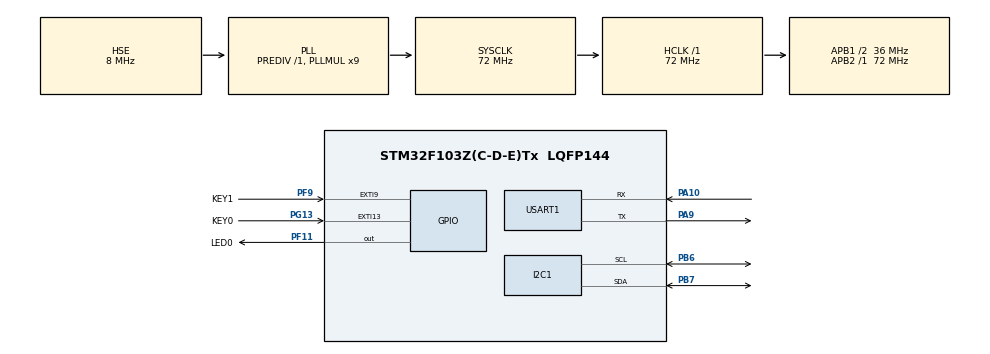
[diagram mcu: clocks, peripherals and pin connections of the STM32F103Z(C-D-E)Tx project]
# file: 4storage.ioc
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Mcu.Family=STM32F1
Mcu.Name=STM32F103Z(C-D-E)Tx
Mcu.Package=LQFP144
NVIC.EXTI15_10_IRQn=true\:0\:0\:false\:false\:true\:true\:true
NVIC.EXTI9_5_IRQn=true\:0\:0\:false\:false\:true\:true\:true
NVIC.PriorityGroup=NVIC_PRIORITYGROUP_4
OSC_IN.Mode=HSE-External-Oscillator
OSC_IN.Signal=RCC_OSC_IN
OSC_OUT.Mode=HSE-External-Oscillator
OSC_OUT.Signal=RCC_OSC_OUT
PA10.Mode=Asynchronous
PA10.Signal=USART1_RX
PA13.Mode=Serial_Wire
PA13.Signal=SYS_JTMS-SWDIO
PA14.Mode=Serial_Wire
PA14.Signal=SYS_JTCK-SWCLK
PA9.Mode=Asynchronous
PA9.Signal=USART1_TX
PB6.Mode=I2C
PB6.Signal=I2C1_SCL
PB7.Mode=I2C
PB7.Signal=I2C1_SDA
PC14-OSC32_IN.Mode=LSE-External-Oscillator
PC14-OSC32_IN.Signal=RCC_OSC32_IN
PC15-OSC32_OUT.Mode=LSE-External-Oscillator
PC15-OSC32_OUT.Signal=RCC_OSC32_OUT
PF11.GPIO_Label=LED0
PF11.Signal=GPIO_Output
PF9.GPIO_Label=KEY1
PF9.GPIO_PuPd=GPIO_PULLUP
PF9.Signal=GPXTI9
PG13.GPIO_Label=KEY0
PG13.GPIO_PuPd=GPIO_PULLUP
PG13.Signal=GPXTI13
ProjectManager.HeapSize=0x200
ProjectManager.StackSize=0x400
ProjectManager.TargetToolchain=MDK-ARM V5.27
RCC.AHBFreq_Value=72000000
RCC.APB1CLKDivider=RCC_HCLK_DIV2
RCC.APB1Freq_Value=36000000
RCC.APB1TimFreq_Value=72000000
RCC.APB2Freq_Value=72000000
RCC.APB2TimFreq_Value=72000000
RCC.HCLKFreq_Value=72000000
RCC.PLLMUL=RCC_PLL_MUL9
RCC.PLLSourceVirtual=RCC_PLLSOURCE_HSE
RCC.SYSCLKFreq_VALUE=72000000
RCC.SYSCLKSource=RCC_SYSCLKSOURCE_PLLCLK
RCC.USBFreq_Value=72000000
USART1.VirtualMode=VM_ASYNC
board=custom

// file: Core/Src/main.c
/* USER CODE BEGIN Header */
/**
  ******************************************************************************
  * @file           : main.c
  * @brief          : Main program body
  ******************************************************************************
  * @attention
  *
  * <h2><center>&copy; Copyright (c) 2021 STMicroelectronics.
  * All rights reserved.</center></h2>
  *
  * This software component is licensed by ST under BSD 3-Clause license,
  * the "License"; You may not use this file except in compliance with the
  * License. You may obtain a copy of the License at:
  *                        opensource.org/licenses/BSD-3-Clause
  *
  ******************************************************************************
  */
/* USER CODE END Header */
#include "main.h"
#include "i2c.h"
#include "usart.h"
#include "gpio.h"

/* USER CODE BEGIN Includes */
#include "stdio.h"
/* USER CODE END Includes */

/* USER CODE BEGIN PTD */
#define ADDR_24LCxx_Write 0xA3   // 1010 0010    xxxx A2 A1 A0 WriteBit
#define ADDR_24LCxx_Read 0xA3    // 1010 0011    xxxx A2 A1 A0 ReadBit 测试后 不管是A3 还是A2都可以 不知道为什么
#define BufferSize 256
/* USER CODE END PTD */

void SystemClock_Config(void);
/* USER CODE BEGIN PFP */
int fputc(int ch, FILE *f)
{
  HAL_UART_Transmit(&huart1, (uint8_t *)&ch, 1, 0xffff);
  return ch;
}
/* USER CODE END PFP */

/* USER CODE BEGIN 0 */
uint8_t WriteBuffer[BufferSize];
uint8_t ReadBuffer[BufferSize];
/* USER CODE END 0 */

int main(void)
{
  /* USER CODE BEGIN 1 */
	int i=0;
  /* USER CODE END 1 */

  /* MCU Configuration--------------------------------------------------------*/

  /* Reset of all peripherals, Initializes the Flash interface and the Systick. */
  HAL_Init();

  /* Configure the system clock */
  SystemClock_Config();

  /* Initialize all configured peripherals */
  MX_GPIO_Init();
  MX_I2C1_Init();
  MX_USART1_UART_Init();
  /* USER CODE BEGIN 2 */

	/*
	I2C_HandleTypeDef *hi2c   选择是哪个i2c
	uint16_t DevAddress      器件地址
	uint16_t MemAddress      寄存器地址
	uint16_t MemAddSize      写入单个数据字节长度
	uint8_t *pData           写入数据地址
	uint16_t Size            写入数据长度
	uint32_t Timeout         超时报错时间
	I2C_HandleTypeDef *hi2c   选择是哪个i2c
	uint16_t DevAddress      器件地址
	uint16_t MemAddress      寄存器地址
	uint16_t MemAddSize      读取单个数据字节长度
	uint8_t *pData           读取数据保存地址
	uint16_t Size            读取数据长度
	uint32_t Timeout         超时报错时间
	*/
	for(i=255; i>=0; i--)
    WriteBuffer[255 -i]=i;    /* WriteBuffer init */
			for (int j=0; j<32; j++)
        {
                if(HAL_I2C_Mem_Write(&hi2c1, ADDR_24LCxx_Write, 8*j, I2C_MEMADD_SIZE_8BIT,WriteBuffer+8*j,8, 1000) == HAL_OK)
                {
												printf("\r\n EEPROM 24C02 Write Test OK \r\n");
                        HAL_Delay(20);
                }
                else
                {
                         HAL_Delay(20);
												 printf("\r\n EEPROM 24C02 Write Test False \r\n");
                }
		}
		HAL_I2C_Mem_Read(&hi2c1, ADDR_24LCxx_Read, 0, I2C_MEMADD_SIZE_8BIT,ReadBuffer,BufferSize, 0xff);

		for(i=0; i<256; i++)
			printf("0x%02X  ",ReadBuffer[i]);

  /* USER CODE END 2 */

  /* Infinite loop */
  while (1)
  {

  }
}

void SystemClock_Config(void)
{
  RCC_OscInitTypeDef RCC_OscInitStruct = {0};
  RCC_ClkInitTypeDef RCC_ClkInitStruct = {0};

  /** Initializes the RCC Oscillators according to the specified parameters
  * in the RCC_OscInitTypeDef structure.
  */
  RCC_OscInitStruct.OscillatorType = RCC_OSCILLATORTYPE_HSE;
  RCC_OscInitStruct.HSEState = RCC_HSE_ON;
  RCC_OscInitStruct.HSEPredivValue = RCC_HSE_PREDIV_DIV1;
  RCC_OscInitStruct.HSIState = RCC_HSI_ON;
  RCC_OscInitStruct.PLL.PLLState = RCC_PLL_ON;
  RCC_OscInitStruct.PLL.PLLSource = RCC_PLLSOURCE_HSE;
  RCC_OscInitStruct.PLL.PLLMUL = RCC_PLL_MUL9;
  if (HAL_RCC_OscConfig(&RCC_OscInitStruct) != HAL_OK)
  {
    Error_Handler();
  }
  /** Initializes the CPU, AHB and APB buses clocks
  */
  RCC_ClkInitStruct.ClockType = RCC_CLOCKTYPE_HCLK|RCC_CLOCKTYPE_SYSCLK
                              |RCC_CLOCKTYPE_PCLK1|RCC_CLOCKTYPE_PCLK2;
  RCC_ClkInitStruct.SYSCLKSource = RCC_SYSCLKSOURCE_PLLCLK;
  RCC_ClkInitStruct.AHBCLKDivider = RCC_SYSCLK_DIV1;
  RCC_ClkInitStruct.APB1CLKDivider = RCC_HCLK_DIV2;
  RCC_ClkInitStruct.APB2CLKDivider = RCC_HCLK_DIV1;

  if (HAL_RCC_ClockConfig(&RCC_ClkInitStruct, FLASH_LATENCY_2) != HAL_OK)
  {
    Error_Handler();
  }
}

void Error_Handler(void)
{
  __disable_irq();
  while (1)
  {
  }
}

/************************ (C) COPYRIGHT STMicroelectronics *****END OF FILE****/
